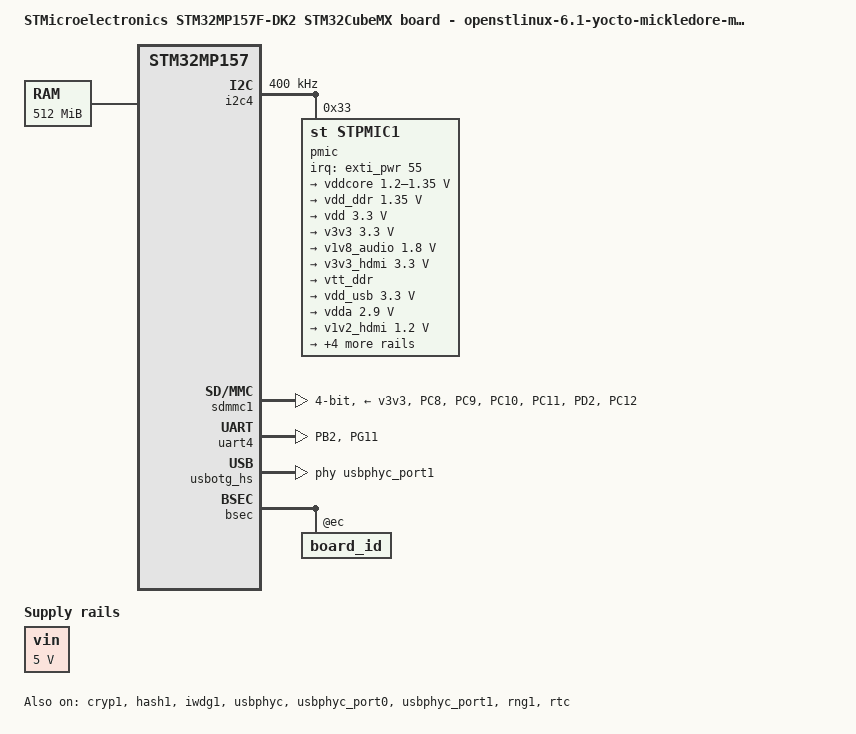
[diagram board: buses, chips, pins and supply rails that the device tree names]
// SPDX-License-Identifier: (GPL-2.0-or-later OR BSD-3-Clause)
/*
 * Copyright (C) 2024, STMicroelectronics - All Rights Reserved
 * Author: STM32CubeMX code generation for STMicroelectronics.
 */

/* For more information on Device Tree configuration, please refer to
 * https://wiki.st.com/stm32mpu/wiki/Category:Device_tree_configuration
 */

/dts-v1/;

#include <dt-bindings/pinctrl/stm32-pinfunc.h>
#include <dt-bindings/clock/stm32mp1-clksrc.h>
#include "stm32mp15-mx.dtsi"

#include "stm32mp157.dtsi"
#include "stm32mp15xf.dtsi"
#include "stm32mp15xxac-pinctrl.dtsi"
#include "stm32mp15-ddr.dtsi"

/* USER CODE BEGIN includes */
#include "stm32mp15-pinctrl.dtsi"
/* USER CODE END includes */

/ {
	model = "STMicroelectronics STM32MP157F-DK2 STM32CubeMX board - openstlinux-6.1-yocto-mickledore-mpu-v24.06.26";
	compatible = "st,stm32mp157f-dk2-mx", "st,stm32mp157f-dk2", "st,stm32mp157";

	memory@c0000000 {
		device_type = "memory";
		reg = <0xc0000000 0x20000000>;

		/* USER CODE BEGIN memory */
		/* USER CODE END memory */
	};

	/* USER CODE BEGIN root */

	vin:vin{
		compatible = "regulator-fixed";
		regulator-name = "vin";
		regulator-min-microvolt = <5000000>;
		regulator-max-microvolt = <5000000>;
		regulator-always-on;
	};

	aliases{
		serial0 = &uart4;
		serial1 = &usart3;
		serial2 = &uart7;
		serial3 = &usart2;
	};

	chosen{
		stdout-path = "serial0:115200n8";
	};
	/* USER CODE END root */

	clocks {
		/* USER CODE BEGIN clocks */
		/* USER CODE END clocks */

		clk_hsi: clk-hsi {
			clock-frequency = <64000000>;

			/* USER CODE BEGIN clk_hsi */
			/* USER CODE END clk_hsi */
		};
		clk_lse: clk-lse {
			clock-frequency = <32768>;
			st,drive = < LSEDRV_MEDIUM_HIGH >;

			/* USER CODE BEGIN clk_lse */
			/* USER CODE END clk_lse */
		};
		clk_hse: clk-hse {
			clock-frequency = <24000000>;
			st,digbypass;

			/* USER CODE BEGIN clk_hse */
			/* USER CODE END clk_hse */
		};
	};

}; /*root*/

&pinctrl {
	sdmmc1_pins_mx: sdmmc1_mx-0 {
		pins1 {
			pinmux = <STM32_PINMUX('C', 8, AF12)>, /* SDMMC1_D0 */
					 <STM32_PINMUX('C', 9, AF12)>, /* SDMMC1_D1 */
					 <STM32_PINMUX('C', 10, AF12)>, /* SDMMC1_D2 */
					 <STM32_PINMUX('C', 11, AF12)>, /* SDMMC1_D3 */
					 <STM32_PINMUX('D', 2, AF12)>; /* SDMMC1_CMD */
			bias-disable;
			drive-push-pull;
			slew-rate = <1>;
		};
		pins2 {
			pinmux = <STM32_PINMUX('C', 12, AF12)>; /* SDMMC1_CK */
			bias-disable;
			drive-push-pull;
			slew-rate = <2>;
		};
	};

	uart4_pins_mx: uart4_mx-0 {
		pins1 {
			pinmux = <STM32_PINMUX('B', 2, AF8)>; /* UART4_RX */
			bias-disable;
		};
		pins2 {
			pinmux = <STM32_PINMUX('G', 11, AF6)>; /* UART4_TX */
			bias-disable;
			drive-push-pull;
			slew-rate = <0>;
		};
	};

	/* USER CODE BEGIN pinctrl */
	/* USER CODE END pinctrl */
};

&pinctrl_z {
	i2c4_pins_z_mx: i2c4_mx-0 {
		pins {
			pinmux = <STM32_PINMUX('Z', 4, AF6)>, /* I2C4_SCL */
					 <STM32_PINMUX('Z', 5, AF6)>; /* I2C4_SDA */
			bias-disable;
			drive-open-drain;
			slew-rate = <0>;
		};
	};

	/* USER CODE BEGIN pinctrl_z */
	/* USER CODE END pinctrl_z */
};

&cryp1{
	status = "okay";

	/* USER CODE BEGIN cryp1 */
	/* USER CODE END cryp1 */
};

&hash1{
	status = "okay";

	/* USER CODE BEGIN hash1 */
	/* USER CODE END hash1 */
};

&i2c4{
	pinctrl-names = "default";
	pinctrl-0 = <&i2c4_pins_z_mx>;
	status = "okay";

	/* USER CODE BEGIN i2c4 */
	i2c-scl-rising-time-ns = <185>;
	i2c-scl-falling-time-ns = <20>;
	clock-frequency = <400000>;

	pmic:stpmic@33{
		compatible = "st,stpmic1";
		reg = <0x33>;
		interrupts-extended = <&exti_pwr 55 IRQ_TYPE_EDGE_FALLING>;
		interrupt-controller;
		#interrupt-cells = <2>;
		status = "okay";

		regulators{
			compatible = "st,stpmic1-regulators";
			buck1-supply = <&vin>;
			buck2-supply = <&vin>;
			buck3-supply = <&vin>;
			buck4-supply = <&vin>;
			ldo1-supply = <&v3v3>;
			ldo2-supply = <&vin>;
			ldo3-supply = <&vdd_ddr>;
			ldo4-supply = <&vin>;
			ldo5-supply = <&vin>;
			ldo6-supply = <&v3v3>;
			vref_ddr-supply = <&vin>;
			boost-supply = <&vin>;
			pwr_sw1-supply = <&bst_out>;
			pwr_sw2-supply = <&bst_out>;

			vddcore:buck1{
				regulator-name = "vddcore";
				regulator-min-microvolt = <1200000>;
				regulator-max-microvolt = <1350000>;
				regulator-always-on;
				regulator-initial-mode = <0>;
				regulator-over-current-protection;
			};

			vdd_ddr:buck2{
				regulator-name = "vdd_ddr";
				regulator-min-microvolt = <1350000>;
				regulator-max-microvolt = <1350000>;
				regulator-always-on;
				regulator-initial-mode = <0>;
				regulator-over-current-protection;
			};

			vdd:buck3{
				regulator-name = "vdd";
				regulator-min-microvolt = <3300000>;
				regulator-max-microvolt = <3300000>;
				regulator-always-on;
				st,mask-reset;
				regulator-initial-mode = <0>;
				regulator-over-current-protection;
			};

			v3v3:buck4{
				regulator-name = "v3v3";
				regulator-min-microvolt = <3300000>;
				regulator-max-microvolt = <3300000>;
				regulator-always-on;
				regulator-over-current-protection;
				regulator-initial-mode = <0>;
			};

			v1v8_audio:ldo1{
				regulator-name = "v1v8_audio";
				regulator-min-microvolt = <1800000>;
				regulator-max-microvolt = <1800000>;
				regulator-always-on;
			};

			v3v3_hdmi:ldo2{
				regulator-name = "v3v3_hdmi";
				regulator-min-microvolt = <3300000>;
				regulator-max-microvolt = <3300000>;
				regulator-always-on;
			};

			vtt_ddr:ldo3{
				regulator-name = "vtt_ddr";
				regulator-always-on;
				regulator-over-current-protection;
				st,regulator-sink-source;
			};

			vdd_usb:ldo4{
				regulator-name = "vdd_usb";
				regulator-min-microvolt = <3300000>;
				regulator-max-microvolt = <3300000>;
			};

			vdda:ldo5{
				regulator-name = "vdda";
				regulator-min-microvolt = <2900000>;
				regulator-max-microvolt = <2900000>;
				regulator-boot-on;
			};

			v1v2_hdmi:ldo6{
				regulator-name = "v1v2_hdmi";
				regulator-min-microvolt = <1200000>;
				regulator-max-microvolt = <1200000>;
				regulator-always-on;
			};

			vref_ddr:vref_ddr{
				regulator-name = "vref_ddr";
				regulator-always-on;
			};

			bst_out:boost{
				regulator-name = "bst_out";
			};

			vbus_otg:pwr_sw1{
				regulator-name = "vbus_otg";
			};

			vbus_sw:pwr_sw2{
				regulator-name = "vbus_sw";
				regulator-active-discharge = <1>;
			};
		};
	};
	/* USER CODE END i2c4 */
};

&iwdg1{
	status = "okay";

	/* USER CODE BEGIN iwdg1 */
	timeout-sec = <32>;
	/* USER CODE END iwdg1 */
};

&rcc{
	status = "okay";

	/* USER CODE BEGIN rcc */
	compatible = "st,stm32mp1-rcc-secure", "st,stm32mp1-rcc", "syscon";
	/* USER CODE END rcc */

	st,clksrc = <
		CLK_CKPER_HSE
		CLK_SDMMC12_PLL4P
		CLK_STGEN_HSE
		CLK_I2C46_HSI
		CLK_USBO_USBPHY
		CLK_UART24_HSI
		CLK_MPU_PLL1P
		CLK_AXI_PLL2P
		CLK_MCU_PLL3P
	>;
	st,clkdiv = <
		DIV(DIV_MPU, 1)
		DIV(DIV_AXI, 0)
		DIV(DIV_MCU, 0)
		DIV(DIV_APB1, 1)
		DIV(DIV_APB2, 1)
		DIV(DIV_APB3, 1)
		DIV(DIV_APB4, 1)
		DIV(DIV_APB5, 2)
		DIV(DIV_RTC, 23)
		DIV(DIV_MCO1, 0)
		DIV(DIV_MCO2, 0)
	>;
	st,pll_vco {
		pll2_vco_1066Mhz: pll2-vco-1066Mhz {
			src = < CLK_PLL12_HSE >;
			divmn = < 2 65 >;
			frac = < 0x1400 >;
		};
		pll3_vco_417Mhz: pll3-vco-417Mhz {
			src = < CLK_PLL3_HSE >;
			divmn = < 1 33 >;
			frac = < 0x1a04 >;
		};
		pll4_vco_594Mhz: pll4-vco-594Mhz {
			src = < CLK_PLL4_HSE >;
			divmn = < 3 98 >;
		};
		/* USER CODE BEGIN rcc_st-pll_vco */
		/* USER CODE END rcc_st-pll_vco */
	};

	pll2:st,pll@1 {
		compatible = "st,stm32mp1-pll";
		reg = <1>;

		st,pll = < &pll2_cfg1 >;

		pll2_cfg1: pll2_cfg1 {
			st,pll_vco = < &pll2_vco_1066Mhz >;
			st,pll_div_pqr = < 1 0 0 >;
		};
		/* USER CODE BEGIN pll2 */
		/* USER CODE END pll2 */
	};

	pll3:st,pll@2 {
		compatible = "st,stm32mp1-pll";
		reg = <2>;

		st,pll = < &pll3_cfg1 >;

		pll3_cfg1: pll3_cfg1 {
			st,pll_vco = < &pll3_vco_417Mhz >;
			st,pll_div_pqr = < 1 16 36 >;
		};
		/* USER CODE BEGIN pll3 */
		/* USER CODE END pll3 */
	};

	pll4:st,pll@3 {
		compatible = "st,stm32mp1-pll";
		reg = <3>;

		st,pll = < &pll4_cfg1 >;

		pll4_cfg1: pll4_cfg1 {
			st,pll_vco = < &pll4_vco_594Mhz >;
			st,pll_div_pqr = < 5 7 7 >;
		};
		/* USER CODE BEGIN pll4 */
		/* USER CODE END pll4 */
	};

};

&sdmmc1{
	pinctrl-names = "default";
	pinctrl-0 = <&sdmmc1_pins_mx>;
	status = "okay";

	/* USER CODE BEGIN sdmmc1 */
	disable-wp;
	st,neg-edge;
	bus-width = <4>;
	vmmc-supply = <&v3v3>;
	/* USER CODE END sdmmc1 */
};

&uart4{
	pinctrl-names = "default";
	pinctrl-0 = <&uart4_pins_mx>;
	status = "okay";

	/* USER CODE BEGIN uart4 */
	/* USER CODE END uart4 */
};

&usbotg_hs{
	status = "okay";

	/* USER CODE BEGIN usbotg_hs */
	phys = <&usbphyc_port1 0>;
	phy-names = "usb2-phy";
	usb-role-switch;
	/* USER CODE END usbotg_hs */
};

&usbphyc{
	status = "okay";

	/* USER CODE BEGIN usbphyc */
	/* USER CODE END usbphyc */
};

&usbphyc_port0{
	status = "okay";

	/* USER CODE BEGIN usbphyc_port0 */
	phy-supply = <&vdd_usb>;
	/* USER CODE END usbphyc_port0 */
};

&usbphyc_port1{
	status = "okay";

	/* USER CODE BEGIN usbphyc_port1 */
	phy-supply = <&vdd_usb>;
	/* USER CODE END usbphyc_port1 */
};

/* USER CODE BEGIN addons */

&bsec{

	board_id:board_id@ec{
		reg = <0xec 0x4>;
		st,non-secure-otp;
	};
};

&cpu0{
	cpu-supply = <&vddcore>;
};

&cpu1{
	cpu-supply = <&vddcore>;
};

&pwr_regulators{
	vdd-supply = <&vdd>;
	vdd_3v3_usbfs-supply = <&vdd_usb>;
};

&rng1{
	status = "okay";
};

&rtc{
	status = "okay";
};
/* USER CODE END addons */

